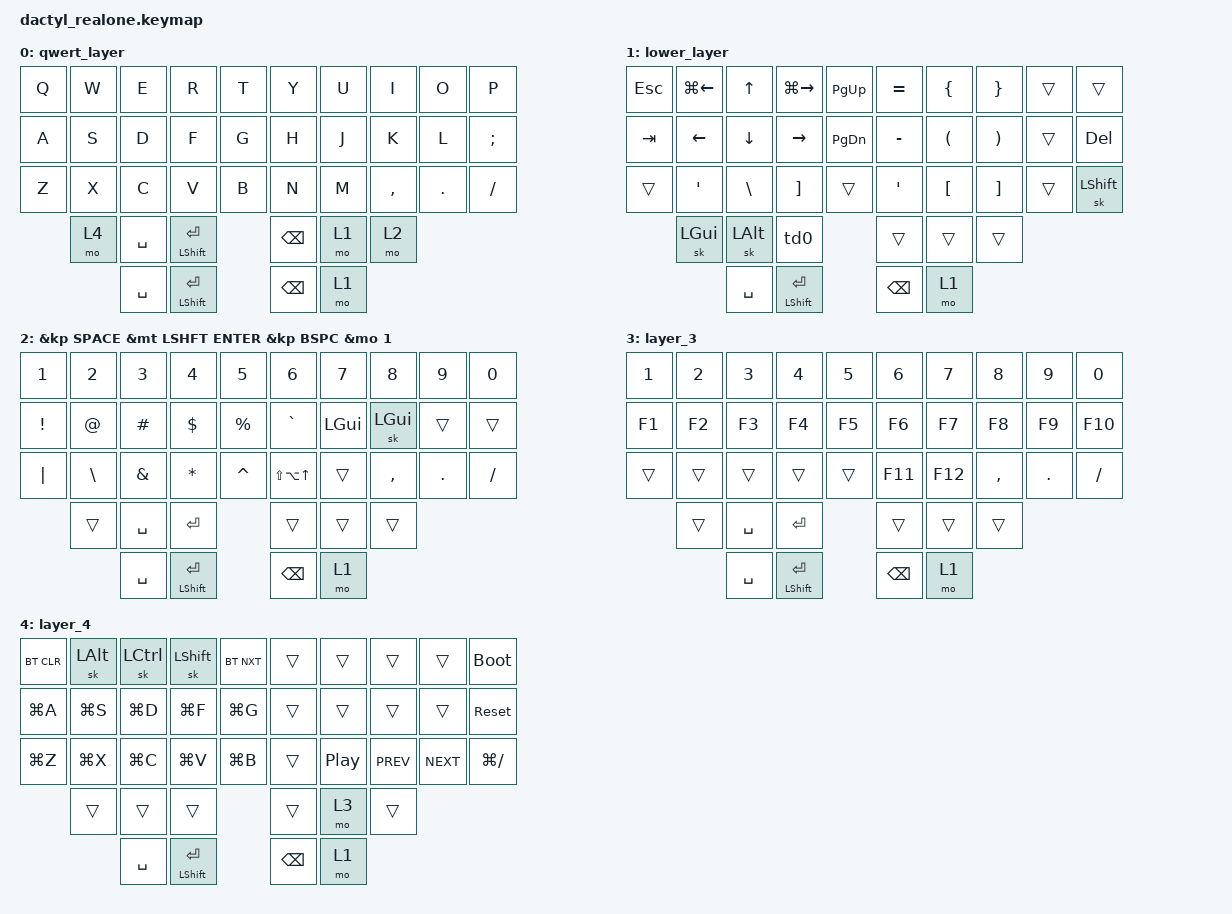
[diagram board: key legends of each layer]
#include <behaviors.dtsi>
#include <dt-bindings/zmk/bt.h>
#include <dt-bindings/zmk/keys.h>

#define DEFAULT 0
#define LOWER 1
#define RAISE 2
#define TOGGLE 3
#define L4 4

&lt {
        flavor = "balanced";
        tapping-term-ms = <150>;
};

/ {
        behaviors {
                td0: tap_dance_0 {
                        compatible = "zmk,behavior-tap-dance";
                        label = "TAP_DANCE_0";
                        #binding-cells = <0>;
                        tapping-term-ms = <200>;
                        bindings = <&kp LSHIFT>, <&kp CAPS>;
                };
                mo_tog: behavior_mo_tog {
                        compatible = "zmk,behavior-hold-tap";
                        label = "mo_tog";
                        flavor = "hold-preferred";
                        #binding-cells = <2>;
                        tapping-term-ms = <200>;
                        bindings = <&mo>, <&tog>;
                };        
        };


	keymap {
		compatible = "zmk,keymap";

		qwert_layer {
			bindings = <
                   &kp Q   &kp W   &kp E      &kp R    &kp T           &kp Y     &kp U   &kp I        &kp O      &kp P
                   &kp A   &kp S   &kp D      &kp F    &kp G           &kp H     &kp J   &kp K        &kp L      &kp SEMI
                   &kp Z   &kp X   &kp C      &kp V    &kp B           &kp N     &kp M   &kp COMMA    &kp DOT    &kp FSLH
		                   &mo 4   &kp SPACE  &mt LSHFT ENTER          &kp BSPC  &mo 1   &mo 2
		                           &kp SPACE  &mt LSHFT ENTER          &kp BSPC  &mo 1 
			>;
		};

		lower_layer {
			bindings = <
                &kp ESC  &kp LG(LEFT)  &kp UP    &kp LG(RIGHT) &kp PG_UP               &kp EQUAL &kp LBRC  &kp RBRC  &trans    &trans    
                &kp TAB  &kp LEFT      &kp DOWN  &kp RIGHT     &kp PAGE_DOWN           &kp MINUS &kp LPAR  &kp RPAR  &trans    &kp DEL     
                &trans   &kp SQT       &kp BSLH  &kp RBKT      &trans                  &kp SQT   &kp LBKT  &kp RBKT  &trans    &sk LSHFT 
                                       &sk LGUI  &sk LALT      &td0                    &trans    &trans    &trans 
                                                 &kp SPACE     &mt LSHFT ENTER         &kp BSPC  &mo 1 
                        >; 
                };

		 &kp SPACE  &mt LSHFT ENTER        &kp BSPC        &mo 1  {
			bindings = <
                &kp N1     &kp N2    &kp N3    &kp N4     &kp N5                 &kp N6          &kp N7    &kp N8     &kp N9   &kp N0
                &kp EXCL   &kp AT    &kp HASH  &kp DLLR   &kp PRCNT              &kp GRAVE       &kp LGUI  &sk LGUI   &trans   &trans  
                &kp PIPE   &kp BSLH  &kp AMPS  &kp STAR   &kp CARET              &kp LS(LA(UP))  &trans    &kp COMMA  &kp DOT  &kp FSLH  
                                     &trans    &kp SPACE  &kp ENTER              &trans          &trans    &trans
                                               &kp SPACE  &mt LSHFT ENTER        &kp BSPC        &mo 1 
                         >;
		};

		layer_3 {
			bindings = <
                &kp N1    &kp N2   &kp N3  &kp N4     &kp N5               &kp N6    &kp N7   &kp N8    &kp N9   &kp N0
                &kp F1    &kp F2   &kp F3  &kp F4     &kp F5               &kp F6    &kp F7   &kp F8    &kp F9   &kp F10
                &trans    &trans   &trans  &trans     &trans               &kp F11   &kp F12  &kp COMMA  &kp DOT  &kp FSLH
                                   &trans  &kp SPACE  &kp ENTER            &trans    &trans   &trans
                                           &kp SPACE  &mt LSHFT ENTER      &kp BSPC  &mo 1 
                        >;
                };

        layer_4 {
			bindings = <
                &bt BT_CLR  &sk LALT   &sk LCTRL  &sk LSHFT   &bt BT_NXT           &trans    &trans    &trans      &trans      &bootloader  
                &kp LG(A)   &kp LG(S)  &kp LG(D)  &kp LG(F)   &kp LG(G)            &trans    &trans    &trans      &trans      &sys_reset      
                &kp LG(Z)   &kp LG(X)  &kp LG(C)  &kp LG(V)   &kp LG(B)            &trans    &kp C_PP  &kp C_PREV  &kp C_NEXT  &kp LG(FSLH)
                                       &trans     &trans      &trans               &trans    &mo 3     &trans
                                                  &kp SPACE   &mt LSHFT ENTER      &kp BSPC  &mo 1   
                        >;
                };
        };
};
